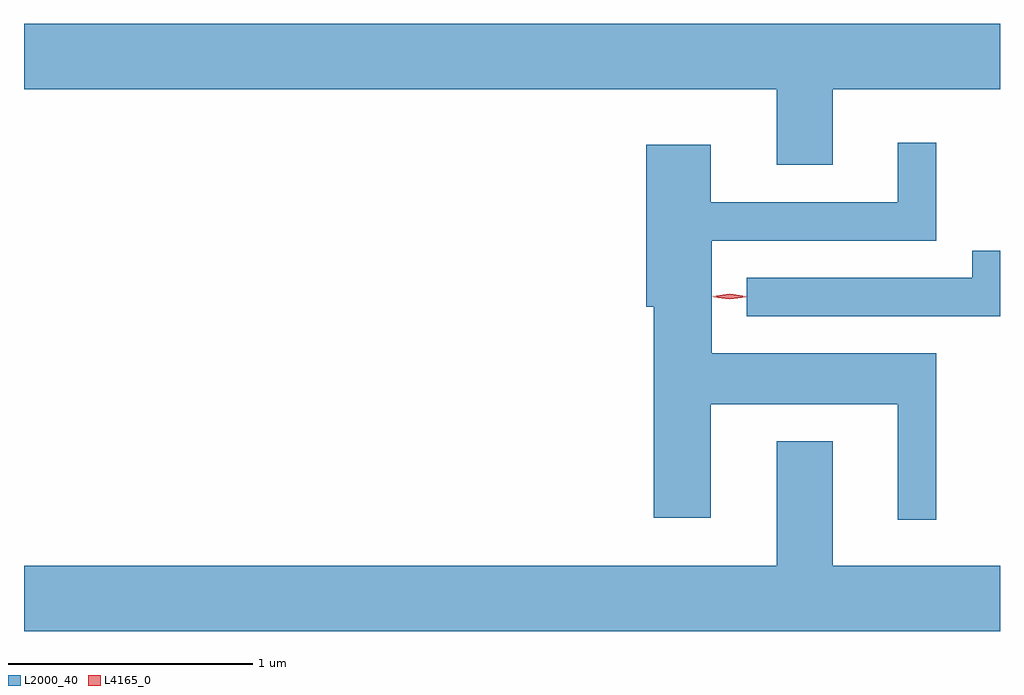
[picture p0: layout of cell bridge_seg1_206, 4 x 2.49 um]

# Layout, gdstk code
import gdstk
lib = gdstk.Library(unit=1e-6, precision=1e-09)
def P(c, l, *ps):  # polygons
    for p in ps: c.add(gdstk.Polygon(p, *l))
L2000_40 = (2000, 40)
L4165_0 = (4165, 0)

bridge_seg1_206 = lib.new_cell('bridge_seg1_206')
P(bridge_seg1_206, L2000_40, [(719.599,939.536),(720.285,939.536),(720.285,939.804),(716.285,939.804),(716.285,939.536),(719.371,939.536),(719.371,939.226),(719.599,939.226)],
  [(720.024,938.454),(719.104,938.454),(719.104,938.916),(720.024,938.916),(720.024,939.318),(719.866,939.318),(719.866,939.074),(719.099,939.074),(719.099,939.309),(718.836,939.309),(718.836,938.646),(718.866,938.646),(718.866,937.781),(719.099,937.781),(719.099,938.246),(719.866,938.246),(719.866,937.773),(720.024,937.773)],
  [(720.285,938.874),(720.171,938.874),(720.171,938.764),(719.248,938.764),(719.248,938.606),(720.285,938.606)],
  [(720.285,937.584),(719.599,937.584),(719.599,938.094),(719.371,938.094),(719.371,937.584),(716.285,937.584),(716.285,937.316),(720.285,937.316)])
P(bridge_seg1_206, L4165_0, [(719.177,938.675),(719.112,938.684),(719.112,938.685),(719.112,938.685),(719.177,938.695),(719.242,938.685),(719.243,938.685),(719.242,938.684)],
  [(719.177,938.679),(719.108,938.688),(719.108,938.689),(719.108,938.689),(719.177,938.698),(719.246,938.689),(719.246,938.688),(719.246,938.688)])

lib.write_gds('bridge_seg1_206.gds')
